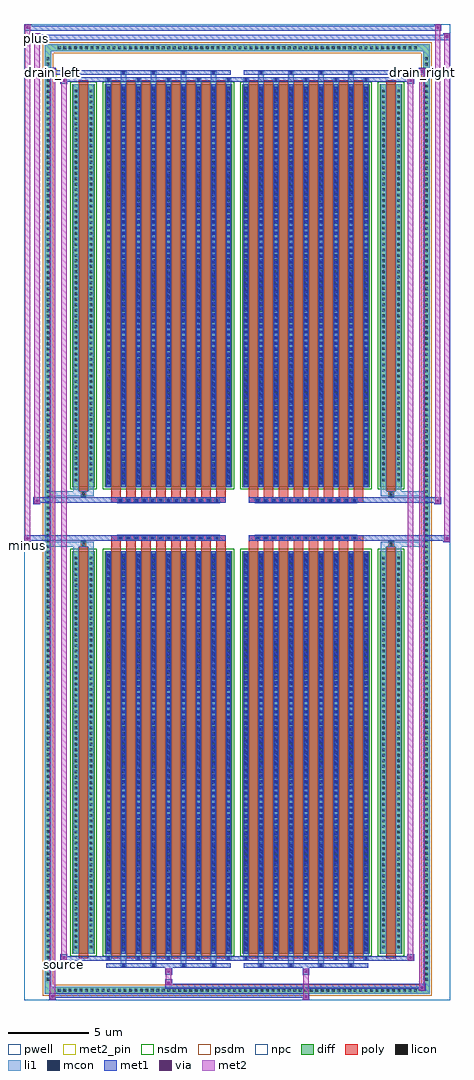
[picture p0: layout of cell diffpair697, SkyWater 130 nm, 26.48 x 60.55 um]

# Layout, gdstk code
import gdstk
lib = gdstk.Library(unit=1e-6, precision=5e-09)
def R(c, l, rs):  # rectangles x0, y0, x1, y1
    for r in rs: c.add(gdstk.rectangle(r[:2], r[2:], *l))
def A(c, l, x, y, w, h, nx, ny, dx, dy):  # array of equal rectangles
    R(c, l, [(x+i*dx, y+j*dy, x+i*dx+w, y+j*dy+h) for i in range(nx) for j in range(ny)])
def P(c, l, *ps):  # polygons
    for p in ps: c.add(gdstk.Polygon(p, *l))
pwell = (64, 44)
diff = (65, 20)
poly = (66, 20)
licon = (66, 44)
li1 = (67, 20)
mcon = (67, 44)
met1 = (68, 20)
via = (68, 44)
met2_pin = (69, 16)
met2 = (69, 20)
nsdm = (93, 44)
psdm = (94, 20)
npc = (95, 20)

diffpair697 = lib.new_cell('diffpair697')
R(diffpair697, pwell, [(-13.22,-29.84,13.22,30.71), (-10.54,-28.03,-0.01,-0.805), (0.01,-28.03,10.54,-0.805), (-10.54,0.805,-0.01,28.03), (0.01,0.805,10.54,28.03)])
A(diffpair697, diff, -11.255, -29.44, 0.41, 0.41, 66, 2, 0.34, 58.47)
A(diffpair697, diff, -11.95, -28.765, 0.41, 0.41, 1, 169, 0, 0.34)
A(diffpair697, diff, 11.54, -28.765, 0.41, 0.41, 1, 169, 0, 0.34)
R(diffpair697, diff, [(-11.255,-29.44,11.255,-29.03), (-11.95,-28.765,-11.54,28.765), (11.54,-28.765,11.95,28.765), (-10.23,-26.985,-8.85,-1.985), (-8.21,-26.985,-0.32,-1.985), (0.32,-26.985,8.21,-1.985), (8.85,-26.985,10.23,-1.985), (-10.23,1.985,-8.85,26.985), (-8.21,1.985,-0.32,26.985), (0.32,1.985,8.21,26.985), (8.85,1.985,10.23,26.985), (-11.255,29.03,11.255,29.44)])
P(diffpair697, diff, [(11.95,29.44),(-11.95,29.44),(-11.95,-29.03),(-11.54,-29.03),(-11.54,29.03),(11.54,29.03),(11.54,-29.03),(-11.54,-29.03),(-11.95,-29.03),(-11.95,-29.44),(11.95,-29.44)])
A(diffpair697, poly, -7.82, -27.235, 0.6, 25.5, 8, 2, 0.93, 28.97)
A(diffpair697, poly, 0.71, -27.235, 0.6, 25.5, 8, 2, 0.93, 28.97)
A(diffpair697, poly, -7.82, -1.735, 0.6, 0.4, 8, 2, 0.93, 3.07)
A(diffpair697, poly, 0.71, -1.735, 0.6, 0.4, 8, 2, 0.93, 3.07)
A(diffpair697, poly, -7.43, -1.335, 0.33, 0.33, 13, 2, 0.5, 2.34)
A(diffpair697, poly, 1.1, -1.335, 0.33, 0.33, 13, 2, 0.5, 2.34)
R(diffpair697, poly, [(-9.84,-27.235,-9.24,-1.735), (9.24,-27.235,9.84,-1.735), (-9.705,-1.735,-9.375,-1.405), (-9.705,-1.735,-9.375,-1.405), (9.375,-1.735,9.705,-1.405), (9.375,-1.735,9.705,-1.405), (-7.82,-1.335,-0.71,-1.005), (0.71,-1.335,7.82,-1.005), (-7.82,1.005,-0.71,1.335), (0.71,1.005,7.82,1.335), (-9.705,1.405,-9.375,1.735), (-9.705,1.405,-9.375,1.735), (9.375,1.405,9.705,1.735), (9.375,1.405,9.705,1.735), (-9.84,1.735,-9.24,27.235), (9.24,1.735,9.84,27.235)])
A(diffpair697, licon, -11.135, -29.32, 0.17, 0.17, 66, 2, 0.34, 58.47)
A(diffpair697, licon, -11.83, -28.645, 0.17, 0.17, 1, 169, 0, 0.34)
A(diffpair697, licon, 11.66, -28.645, 0.17, 0.17, 1, 169, 0, 0.34)
A(diffpair697, licon, -10.09, -26.64, 0.17, 0.17, 1, 72, 0, 0.34)
A(diffpair697, licon, -9.16, -26.64, 0.17, 0.17, 1, 72, 0, 0.34)
A(diffpair697, licon, -8.07, -26.64, 0.17, 0.17, 9, 72, 0.93, 0.34)
A(diffpair697, licon, 0.46, -26.64, 0.17, 0.17, 9, 72, 0.93, 0.34)
A(diffpair697, licon, 8.99, -26.64, 0.17, 0.17, 1, 72, 0, 0.34)
A(diffpair697, licon, 9.92, -26.64, 0.17, 0.17, 1, 72, 0, 0.34)
A(diffpair697, licon, -7.35, -1.255, 0.17, 0.17, 13, 2, 0.5, 2.34)
A(diffpair697, licon, 1.18, -1.255, 0.17, 0.17, 13, 2, 0.5, 2.34)
A(diffpair697, licon, -10.09, 2.33, 0.17, 0.17, 1, 72, 0, 0.34)
A(diffpair697, licon, -9.16, 2.33, 0.17, 0.17, 1, 72, 0, 0.34)
A(diffpair697, licon, -8.07, 2.33, 0.17, 0.17, 9, 72, 0.93, 0.34)
A(diffpair697, licon, 0.46, 2.33, 0.17, 0.17, 9, 72, 0.93, 0.34)
A(diffpair697, licon, 8.99, 2.33, 0.17, 0.17, 1, 72, 0, 0.34)
A(diffpair697, licon, 9.92, 2.33, 0.17, 0.17, 1, 72, 0, 0.34)
R(diffpair697, licon, [(-9.625,-1.655,-9.455,-1.485), (9.455,-1.655,9.625,-1.485), (-9.625,1.485,-9.455,1.655), (9.455,1.485,9.625,1.655)])
A(diffpair697, li1, -11.215, -29.4, 0.33, 0.33, 66, 2, 0.34, 58.47)
A(diffpair697, li1, -11.91, -28.725, 0.33, 0.33, 1, 169, 0, 0.34)
A(diffpair697, li1, 11.58, -28.725, 0.33, 0.33, 1, 169, 0, 0.34)
A(diffpair697, li1, -7.22, -27.79, 0.33, 0.805, 4, 2, 1.86, 54.775)
A(diffpair697, li1, -7.14, -27.79, 0.17, 0.17, 4, 2, 1.86, 55.41)
A(diffpair697, li1, 1.31, -27.79, 0.33, 0.805, 4, 2, 1.86, 54.775)
A(diffpair697, li1, 1.39, -27.79, 0.17, 0.17, 4, 2, 1.86, 55.41)
A(diffpair697, li1, -8.15, -27.36, 0.33, 0.375, 5, 2, 1.86, 54.345)
A(diffpair697, li1, -8.07, -27.36, 0.17, 0.17, 5, 2, 1.86, 54.55)
A(diffpair697, li1, 0.38, -27.36, 0.33, 0.375, 5, 2, 1.86, 54.345)
A(diffpair697, li1, 0.46, -27.36, 0.17, 0.17, 5, 2, 1.86, 54.55)
A(diffpair697, li1, -8.15, -26.985, 0.33, 25, 9, 2, 0.93, 28.97)
A(diffpair697, li1, 0.38, -26.985, 0.33, 25, 9, 2, 0.93, 28.97)
A(diffpair697, li1, -8.07, -26.81, 0.17, 0.17, 9, 69, 0.93, 0.36)
A(diffpair697, li1, -8.07, -26.81, 0.17, 24.65, 9, 2, 0.93, 28.97)
A(diffpair697, li1, 0.46, -26.81, 0.17, 0.17, 9, 69, 0.93, 0.36)
A(diffpair697, li1, 0.46, -26.81, 0.17, 24.65, 9, 2, 0.93, 28.97)
A(diffpair697, li1, -10.17, -26.72, 0.33, 0.33, 1, 72, 0, 0.34)
A(diffpair697, li1, -9.24, -26.72, 0.33, 0.33, 1, 72, 0, 0.34)
A(diffpair697, li1, -8.15, -26.72, 0.33, 0.33, 9, 72, 0.93, 0.34)
A(diffpair697, li1, 0.38, -26.72, 0.33, 0.33, 9, 72, 0.93, 0.34)
A(diffpair697, li1, 8.91, -26.72, 0.33, 0.33, 1, 72, 0, 0.34)
A(diffpair697, li1, 9.84, -26.72, 0.33, 0.33, 1, 72, 0, 0.34)
A(diffpair697, li1, -7.43, -1.335, 0.33, 0.33, 13, 2, 0.5, 2.34)
A(diffpair697, li1, 1.1, -1.335, 0.33, 0.33, 13, 2, 0.5, 2.34)
A(diffpair697, li1, -8.07, 2.16, 0.17, 0.17, 9, 69, 0.93, 0.36)
A(diffpair697, li1, 0.46, 2.16, 0.17, 0.17, 9, 69, 0.93, 0.36)
A(diffpair697, li1, -10.17, 2.25, 0.33, 0.33, 1, 72, 0, 0.34)
A(diffpair697, li1, -9.24, 2.25, 0.33, 0.33, 1, 72, 0, 0.34)
A(diffpair697, li1, -8.15, 2.25, 0.33, 0.33, 9, 72, 0.93, 0.34)
A(diffpair697, li1, 0.38, 2.25, 0.33, 0.33, 9, 72, 0.93, 0.34)
A(diffpair697, li1, 8.91, 2.25, 0.33, 0.33, 1, 72, 0, 0.34)
A(diffpair697, li1, 9.84, 2.25, 0.33, 0.33, 1, 72, 0, 0.34)
R(diffpair697, li1, [(-11.95,-29.44,-11.54,-29.03), (-11.95,-29.44,-11.54,-29.03), (-11.54,-29.44,11.54,-29.03), (11.54,-29.44,11.95,-29.03), (11.54,-29.44,11.95,-29.03), (-11.95,-29.03,-11.54,29.03), (11.54,-29.03,11.95,29.03), (-10.17,-26.985,-9.84,-1.985), (-9.24,-26.985,-8.91,-1.985), (8.91,-26.985,9.24,-1.985), (9.84,-26.985,10.17,-1.985), (-10.17,-1.985,-9.84,-1.405), (-9.24,-1.985,-8.91,-1.405), (8.91,-1.985,9.24,-1.405), (9.84,-1.985,10.17,-1.405), (-11.95,-1.735,-9.705,-1.405), (-10.17,-1.735,-9.705,-1.405), (-9.705,-1.735,-9.375,-1.405), (-9.375,-1.735,-8.91,-1.405), (8.91,-1.735,9.375,-1.405), (9.375,-1.735,9.705,-1.405), (9.375,-1.735,11.95,-1.405), (9.705,-1.735,10.17,-1.405), (-11.95,1.405,-9.705,1.735), (-10.17,1.405,-9.705,1.735), (-10.17,1.405,-9.84,1.985), (-9.705,1.405,-9.375,1.735), (-9.375,1.405,-8.91,1.735), (-9.24,1.405,-8.91,1.985), (8.91,1.405,9.375,1.735), (8.91,1.405,9.24,1.985), (9.375,1.405,9.705,1.735), (9.375,1.405,11.95,1.735), (9.705,1.405,10.17,1.735), (9.84,1.405,10.17,1.985), (-10.17,1.985,-9.84,26.985), (-9.24,1.985,-8.91,26.985), (8.91,1.985,9.24,26.985), (9.84,1.985,10.17,26.985), (-11.95,29.03,-11.54,29.44), (-11.95,29.03,-11.54,29.44), (-11.54,29.03,11.54,29.44), (11.54,29.03,11.95,29.44), (11.54,29.03,11.95,29.44)])
A(diffpair697, mcon, -7.14, -27.79, 0.17, 0.17, 4, 2, 1.86, 55.41)
A(diffpair697, mcon, 1.39, -27.79, 0.17, 0.17, 4, 2, 1.86, 55.41)
A(diffpair697, mcon, -8.07, -27.36, 0.17, 0.17, 5, 2, 1.86, 54.55)
A(diffpair697, mcon, 0.46, -27.36, 0.17, 0.17, 5, 2, 1.86, 54.55)
A(diffpair697, mcon, -8.07, -26.81, 0.17, 0.17, 9, 69, 0.93, 0.36)
A(diffpair697, mcon, 0.46, -26.81, 0.17, 0.17, 9, 69, 0.93, 0.36)
A(diffpair697, mcon, -7.35, -1.255, 0.17, 0.17, 13, 2, 0.5, 2.34)
A(diffpair697, mcon, 1.18, -1.255, 0.17, 0.17, 13, 2, 0.5, 2.34)
A(diffpair697, mcon, -8.07, 2.16, 0.17, 0.17, 9, 69, 0.93, 0.36)
A(diffpair697, mcon, 0.46, 2.16, 0.17, 0.17, 9, 69, 0.93, 0.36)
A(diffpair697, met1, -7.2, -27.85, 0.29, 0.29, 4, 2, 1.86, 55.41)
A(diffpair697, met1, 1.33, -27.85, 0.29, 0.29, 4, 2, 1.86, 55.41)
A(diffpair697, met1, -8.13, -27.42, 0.29, 0.29, 5, 2, 1.86, 54.55)
A(diffpair697, met1, 0.4, -27.42, 0.29, 0.29, 5, 2, 1.86, 54.55)
A(diffpair697, met1, -8.13, -26.985, 0.29, 25, 9, 2, 0.93, 28.97)
A(diffpair697, met1, 0.4, -26.985, 0.29, 25, 9, 2, 0.93, 28.97)
A(diffpair697, met1, -8.13, -26.87, 0.29, 0.29, 9, 69, 0.93, 0.36)
A(diffpair697, met1, 0.4, -26.87, 0.29, 0.29, 9, 69, 0.93, 0.36)
A(diffpair697, met1, -7.41, -1.315, 0.29, 0.29, 13, 2, 0.5, 2.34)
A(diffpair697, met1, 1.12, -1.315, 0.29, 0.29, 13, 2, 0.5, 2.34)
A(diffpair697, met1, -8.13, 2.1, 0.29, 0.29, 9, 69, 0.93, 0.36)
A(diffpair697, met1, 0.4, 2.1, 0.29, 0.29, 9, 69, 0.93, 0.36)
R(diffpair697, met1, [(-11.68,-29.84,-11.25,-29.41), (4.05,-29.84,4.48,-29.41), (-11.68,-29.7,4.48,-29.41), (11.25,-29.27,11.68,-28.84), (-4.48,-29.13,11.68,-28.84), (-4.48,-28.99,-4.05,-28.56), (-4.48,-28.28,-4.05,-27.85), (4.05,-28.28,4.48,-27.85), (-8.13,-27.85,-0.4,-27.56), (0.4,-27.85,8.13,-27.56), (-10.97,-27.42,-10.54,-26.99), (-10.97,-27.42,-8.13,-27.13), (-8.13,-27.42,-0.4,-27.13), (-0.4,-27.42,0.4,-27.13), (0.4,-27.42,8.13,-27.13), (8.13,-27.42,10.97,-27.13), (10.54,-27.42,10.97,-26.99), (-13.22,-1.435,-12.79,-1.005), (12.79,-1.435,13.22,-1.005), (-13.22,-1.335,-0.71,-1.005), (-7.82,-1.335,-0.71,-1.005), (0.71,-1.335,7.82,-1.005), (0.71,-1.335,13.22,-1.005), (-12.65,0.905,-12.22,1.335), (12.22,0.905,12.65,1.335), (-12.65,1.005,-7.82,1.335), (-7.82,1.005,-0.71,1.335), (0.71,1.005,7.82,1.335), (7.82,1.005,12.65,1.335), (-10.97,26.99,-10.54,27.42), (10.54,26.99,10.97,27.42), (-10.97,27.13,-8.13,27.42), (-8.13,27.13,-0.4,27.42), (-0.4,27.13,0.4,27.42), (0.4,27.13,8.13,27.42), (8.13,27.13,10.97,27.42), (-11.68,27.56,-11.25,27.99), (-11.68,27.56,-8.13,27.85), (-8.13,27.56,-0.4,27.85), (0.4,27.56,8.13,27.85), (8.13,27.56,11.68,27.85), (11.25,27.56,11.68,27.99), (-12.65,29.71,-12.22,30.14), (-12.65,29.71,-10.54,30.04), (-10.54,29.71,10.54,30.04), (10.54,29.71,13.22,30.04), (12.79,29.71,13.22,30.14), (-13.22,30.28,-12.79,30.71), (-13.22,30.28,-10.54,30.61), (-10.54,30.28,10.54,30.61), (10.54,30.28,12.65,30.61), (12.22,30.28,12.65,30.71)])
R(diffpair697, via, [(-11.54,-29.7,-11.39,-29.55), (4.19,-29.7,4.34,-29.55), (11.39,-29.13,11.54,-28.98), (-4.34,-28.85,-4.19,-28.7), (-4.34,-28.14,-4.19,-27.99), (4.19,-28.14,4.34,-27.99), (-10.83,-27.28,-10.68,-27.13), (10.68,-27.28,10.83,-27.13), (-13.08,-1.295,-12.93,-1.145), (12.93,-1.295,13.08,-1.145), (-12.51,1.045,-12.36,1.195), (12.36,1.045,12.51,1.195), (-10.83,27.13,-10.68,27.28), (10.68,27.13,10.83,27.28), (-11.54,27.7,-11.39,27.85), (11.39,27.7,11.54,27.85), (-12.51,29.85,-12.36,30), (12.93,29.85,13.08,30), (-13.08,30.42,-12.93,30.57), (12.36,30.42,12.51,30.57)])
R(diffpair697, met2_pin, [(-11.005,-27.87,-10.505,-27.37), (-13.255,-1.885,-12.755,-1.385), (-11.715,27.44,-11.215,27.94), (11.215,27.44,11.715,27.94), (-12.685,29.59,-12.185,30.09)])
R(diffpair697, met2, [(-11.63,-29.79,-11.3,-29.46), (-11.63,-29.79,-11.3,27.94), (4.1,-29.79,4.43,-29.46), (4.1,-29.46,4.43,-28.23), (11.3,-29.22,11.63,-28.89), (11.3,-29.22,11.63,27.94), (-4.43,-28.94,-4.1,-28.61), (-4.43,-28.61,-4.1,-28.23), (-4.43,-28.23,-4.1,-27.9), (4.1,-28.23,4.43,-27.9), (-10.92,-27.37,-10.59,-27.04), (-10.92,-27.37,-10.59,27.37), (10.59,-27.37,10.92,-27.04), (10.59,-27.37,10.92,27.37), (-13.17,-1.385,-12.84,-1.055), (-13.17,-1.385,-12.84,30.66), (12.84,-1.385,13.17,-1.055), (12.84,-1.385,13.17,30.09), (-12.6,0.955,-12.27,1.285), (-12.6,0.955,-12.27,30.09), (12.27,0.955,12.6,1.285), (12.27,0.955,12.6,30.66), (-10.92,27.04,-10.59,27.37), (10.59,27.04,10.92,27.37), (-11.63,27.61,-11.3,27.94), (11.3,27.61,11.63,27.94), (-12.6,29.76,-12.27,30.09), (12.84,29.76,13.17,30.09), (-13.17,30.33,-12.84,30.66), (12.27,30.33,12.6,30.66)])
P(diffpair697, met2, [(13.17,-1.385),(13.17,-1.385),(13.17,-1.055),(13.17,-1.055)],
  [(13.17,29.76),(13.17,29.76),(13.17,30.09),(13.17,30.09)],
  [(-12.84,-1.385),(-12.84,-1.385),(-12.84,-1.055),(-12.84,-1.055)],
  [(-12.84,30.33),(-12.84,30.33),(-12.84,30.66),(-12.84,30.66)],
  [(12.6,0.955),(12.6,0.955),(12.6,1.285),(12.6,1.285)],
  [(12.6,30.33),(12.6,30.33),(12.6,30.66),(12.6,30.66)],
  [(-12.27,0.955),(-12.27,0.955),(-12.27,1.285),(-12.27,1.285)],
  [(-12.27,29.76),(-12.27,29.76),(-12.27,30.09),(-12.27,30.09)],
  [(-11.3,-29.79),(-11.3,-29.79),(-11.3,-29.46),(-11.3,-29.46)],
  [(-11.3,27.61),(-11.3,27.61),(-11.3,27.94),(-11.3,27.94)],
  [(11.63,-29.22),(11.63,-29.22),(11.63,-28.89),(11.63,-28.89)],
  [(11.63,27.61),(11.63,27.61),(11.63,27.94),(11.63,27.94)],
  [(-10.59,-27.37),(-10.59,-27.37),(-10.59,-27.04),(-10.59,-27.04)],
  [(-10.59,27.04),(-10.59,27.04),(-10.59,27.37),(-10.59,27.37)],
  [(10.92,-27.37),(10.92,-27.37),(10.92,-27.04),(10.92,-27.04)],
  [(10.92,27.04),(10.92,27.04),(10.92,27.37),(10.92,27.37)])
R(diffpair697, nsdm, [(-10.36,-27.115,-8.72,-1.855), (-8.34,-27.115,-0.19,-1.855), (0.19,-27.115,8.34,-1.855), (8.72,-27.115,10.36,-1.855), (-10.36,1.855,-8.72,27.115), (-8.34,1.855,-0.19,27.115), (0.19,1.855,8.34,27.115), (8.72,1.855,10.36,27.115)])
P(diffpair697, psdm, [(12.08,29.57),(-12.08,29.57),(-12.08,-28.9),(-11.41,-28.9),(-11.41,28.9),(11.41,28.9),(11.41,-28.9),(-11.41,-28.9),(-12.08,-28.9),(-12.08,-29.57),(12.08,-29.57)])
A(diffpair697, npc, -7.45, -1.355, 0.37, 0.37, 13, 2, 0.5, 2.34)
A(diffpair697, npc, 1.08, -1.355, 0.37, 0.37, 13, 2, 0.5, 2.34)
R(diffpair697, npc, [(-9.725,-1.755,-9.355,-1.385), (9.355,-1.755,9.725,-1.385), (-7.45,-1.355,-6.58,-0.985), (-7.45,-1.355,-6.58,-0.985), (-6.95,-1.355,-6.08,-0.985), (-6.95,-1.355,-6.08,-0.985), (-6.45,-1.355,-5.58,-0.985), (-6.45,-1.355,-5.58,-0.985), (-5.95,-1.355,-5.08,-0.985), (-5.95,-1.355,-5.08,-0.985), (-5.45,-1.355,-4.58,-0.985), (-5.45,-1.355,-4.58,-0.985), (-4.95,-1.355,-4.08,-0.985), (-4.95,-1.355,-4.08,-0.985), (-4.45,-1.355,-3.58,-0.985), (-4.45,-1.355,-3.58,-0.985), (-3.95,-1.355,-3.08,-0.985), (-3.95,-1.355,-3.08,-0.985), (-3.45,-1.355,-2.58,-0.985), (-3.45,-1.355,-2.58,-0.985), (-2.95,-1.355,-2.08,-0.985), (-2.95,-1.355,-2.08,-0.985), (-2.45,-1.355,-1.58,-0.985), (-2.45,-1.355,-1.58,-0.985), (-1.95,-1.355,-1.08,-0.985), (-1.95,-1.355,-1.08,-0.985), (1.08,-1.355,1.95,-0.985), (1.08,-1.355,1.95,-0.985), (1.58,-1.355,2.45,-0.985), (1.58,-1.355,2.45,-0.985), (2.08,-1.355,2.95,-0.985), (2.08,-1.355,2.95,-0.985), (2.58,-1.355,3.45,-0.985), (2.58,-1.355,3.45,-0.985), (3.08,-1.355,3.95,-0.985), (3.08,-1.355,3.95,-0.985), (3.58,-1.355,4.45,-0.985), (3.58,-1.355,4.45,-0.985), (4.08,-1.355,4.95,-0.985), (4.08,-1.355,4.95,-0.985), (4.58,-1.355,5.45,-0.985), (4.58,-1.355,5.45,-0.985), (5.08,-1.355,5.95,-0.985), (5.08,-1.355,5.95,-0.985), (5.58,-1.355,6.45,-0.985), (5.58,-1.355,6.45,-0.985), (6.08,-1.355,6.95,-0.985), (6.08,-1.355,6.95,-0.985), (6.58,-1.355,7.45,-0.985), (6.58,-1.355,7.45,-0.985), (-7.45,0.985,-6.58,1.355), (-7.45,0.985,-6.58,1.355), (-6.95,0.985,-6.08,1.355), (-6.95,0.985,-6.08,1.355), (-6.45,0.985,-5.58,1.355), (-6.45,0.985,-5.58,1.355), (-5.95,0.985,-5.08,1.355), (-5.95,0.985,-5.08,1.355), (-5.45,0.985,-4.58,1.355), (-5.45,0.985,-4.58,1.355), (-4.95,0.985,-4.08,1.355), (-4.95,0.985,-4.08,1.355), (-4.45,0.985,-3.58,1.355), (-4.45,0.985,-3.58,1.355), (-3.95,0.985,-3.08,1.355), (-3.95,0.985,-3.08,1.355), (-3.45,0.985,-2.58,1.355), (-3.45,0.985,-2.58,1.355), (-2.95,0.985,-2.08,1.355), (-2.95,0.985,-2.08,1.355), (-2.45,0.985,-1.58,1.355), (-2.45,0.985,-1.58,1.355), (-1.95,0.985,-1.08,1.355), (-1.95,0.985,-1.08,1.355), (1.08,0.985,1.95,1.355), (1.08,0.985,1.95,1.355), (1.58,0.985,2.45,1.355), (1.58,0.985,2.45,1.355), (2.08,0.985,2.95,1.355), (2.08,0.985,2.95,1.355), (2.58,0.985,3.45,1.355), (2.58,0.985,3.45,1.355), (3.08,0.985,3.95,1.355), (3.08,0.985,3.95,1.355), (3.58,0.985,4.45,1.355), (3.58,0.985,4.45,1.355), (4.08,0.985,4.95,1.355), (4.08,0.985,4.95,1.355), (4.58,0.985,5.45,1.355), (4.58,0.985,5.45,1.355), (5.08,0.985,5.95,1.355), (5.08,0.985,5.95,1.355), (5.58,0.985,6.45,1.355), (5.58,0.985,6.45,1.355), (6.08,0.985,6.95,1.355), (6.08,0.985,6.95,1.355), (6.58,0.985,7.45,1.355), (6.58,0.985,7.45,1.355), (-9.725,1.385,-9.355,1.755), (9.355,1.385,9.725,1.755)])
diffpair697.add(gdstk.Label('minus', (-13.005,-1.635), layer=69, texttype=5))
diffpair697.add(gdstk.Label('drain_right', (11.465,27.69), layer=69, texttype=5))
diffpair697.add(gdstk.Label('drain_left', (-11.465,27.69), layer=69, texttype=5))
diffpair697.add(gdstk.Label('source', (-10.755,-27.62), layer=69, texttype=5))
diffpair697.add(gdstk.Label('plus', (-12.435,29.84), layer=69, texttype=5))

lib.write_gds('diffpair697.gds')
